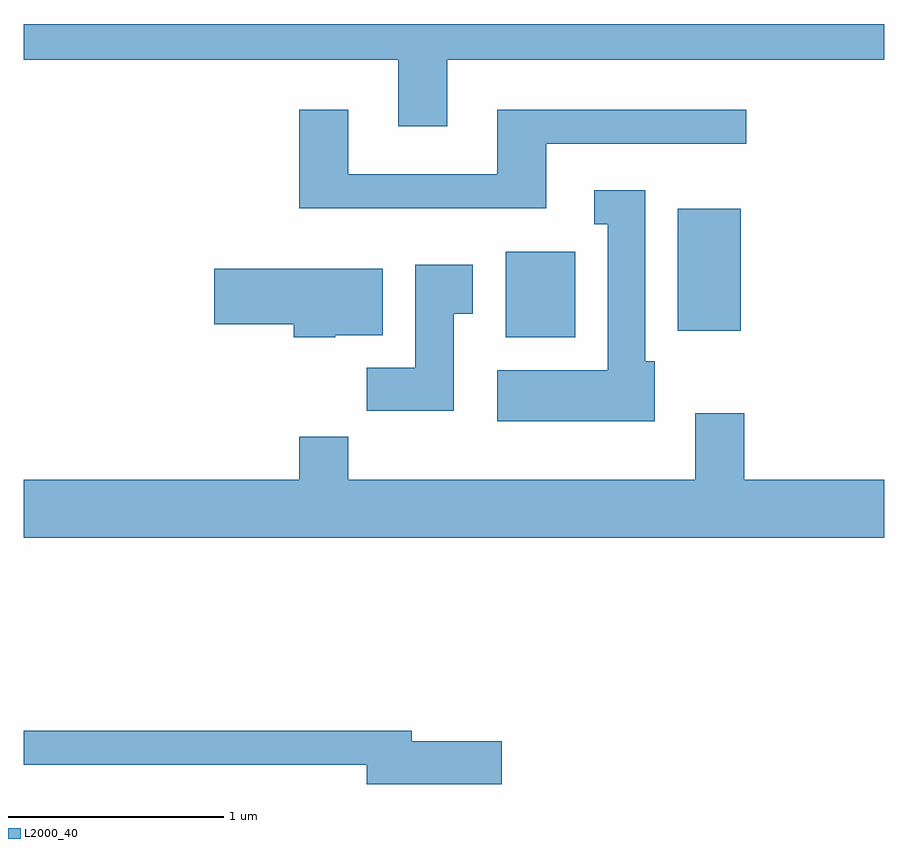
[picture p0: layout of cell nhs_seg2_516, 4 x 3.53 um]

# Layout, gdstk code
import gdstk
lib = gdstk.Library(unit=1e-6, precision=1e-09)
def R(c, l, rs):  # rectangles x0, y0, x1, y1
    for r in rs: c.add(gdstk.rectangle(r[:2], r[2:], *l))
def P(c, l, *ps):  # polygons
    for p in ps: c.add(gdstk.Polygon(p, *l))
L2000_40 = (2000, 40)

nhs_seg2_516 = lib.new_cell('nhs_seg2_516')
R(nhs_seg2_516, L2000_40, [(201.851,1060.346,202.174,1060.744), (202.651,1060.376,202.944,1060.944)])
P(nhs_seg2_516, L2000_40, [(201.579,1061.636),(203.611,1061.636),(203.611,1061.802),(199.611,1061.802),(199.611,1061.636),(201.351,1061.636),(201.351,1061.326),(201.579,1061.326)],
  [(202.039,1061.246),(202.968,1061.246),(202.968,1061.404),(201.811,1061.404),(201.811,1061.104),(201.119,1061.104),(201.119,1061.404),(200.891,1061.404),(200.891,1060.946),(202.039,1060.946)],
  [(202.544,1060.234),(202.499,1060.234),(202.499,1061.029),(202.263,1061.029),(202.263,1060.871),(202.326,1060.871),(202.326,1060.194),(201.811,1060.194),(201.811,1059.956),(202.544,1059.956)],
  [(201.609,1060.456),(201.699,1060.456),(201.699,1060.684),(201.431,1060.684),(201.431,1060.204),(201.206,1060.204),(201.206,1060.006),(201.609,1060.006)],
  [(201.06,1060.356),(201.279,1060.356),(201.279,1060.664),(200.496,1060.664),(200.496,1060.406),(200.866,1060.406),(200.866,1060.346),(201.06,1060.346)],
  [(203.611,1059.684),(202.959,1059.684),(202.959,1059.994),(202.731,1059.994),(202.731,1059.684),(201.119,1059.684),(201.119,1059.884),(200.891,1059.884),(200.891,1059.684),(199.611,1059.684),(199.611,1059.416),(203.611,1059.416)],
  [(201.834,1058.469),(201.414,1058.469),(201.414,1058.519),(199.611,1058.519),(199.611,1058.361),(201.206,1058.361),(201.206,1058.271),(201.834,1058.271)])

lib.write_gds('nhs_seg2_516.gds')
